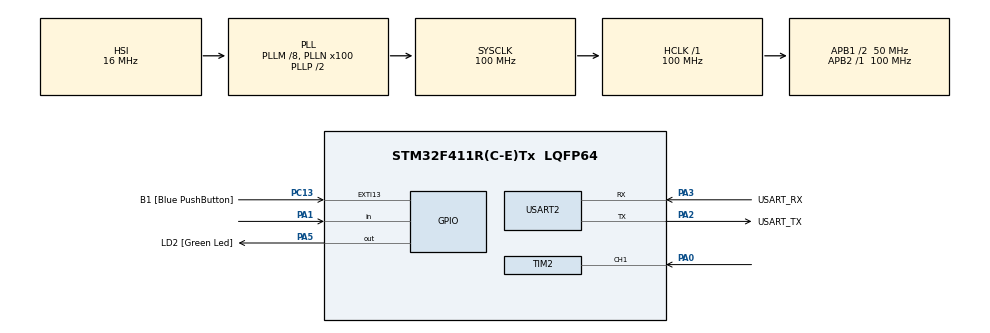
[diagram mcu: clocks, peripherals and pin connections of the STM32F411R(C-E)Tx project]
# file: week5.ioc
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Dma.Request0=TIM2_CH1
Dma.TIM2_CH1.0.Direction=DMA_PERIPH_TO_MEMORY
Dma.TIM2_CH1.0.FIFOMode=DMA_FIFOMODE_DISABLE
Dma.TIM2_CH1.0.Instance=DMA1_Stream5
Dma.TIM2_CH1.0.MemDataAlignment=DMA_MDATAALIGN_WORD
Dma.TIM2_CH1.0.MemInc=DMA_MINC_ENABLE
Dma.TIM2_CH1.0.Mode=DMA_CIRCULAR
Dma.TIM2_CH1.0.PeriphDataAlignment=DMA_PDATAALIGN_WORD
Dma.TIM2_CH1.0.PeriphInc=DMA_PINC_DISABLE
Dma.TIM2_CH1.0.Priority=DMA_PRIORITY_LOW
Mcu.Family=STM32F4
Mcu.Name=STM32F411R(C-E)Tx
Mcu.Package=LQFP64
NVIC.DMA1_Stream5_IRQn=true\:0\:0\:false\:false\:true\:false\:true
NVIC.PriorityGroup=NVIC_PRIORITYGROUP_0
NVIC.TIM1_TRG_COM_TIM11_IRQn=true\:0\:1\:true\:false\:true\:true\:true
PA0-WKUP.Signal=S_TIM2_CH1_ETR
PA1.Signal=GPIO_Input
PA13.GPIO_Label=TMS
PA13.Mode=Serial_Wire
PA13.Signal=SYS_JTMS-SWDIO
PA14.GPIO_Label=TCK
PA14.Mode=Serial_Wire
PA14.Signal=SYS_JTCK-SWCLK
PA2.GPIO_Label=USART_TX
PA2.Mode=Asynchronous
PA2.Signal=USART2_TX
PA3.GPIO_Label=USART_RX
PA3.Mode=Asynchronous
PA3.Signal=USART2_RX
PA5.GPIO_Label=LD2 [Green Led]
PA5.Signal=GPIO_Output
PB3.GPIO_Label=SWO
PB3.Signal=SYS_JTDO-SWO
PC13-ANTI_TAMP.GPIO_Label=B1 [Blue PushButton]
PC13-ANTI_TAMP.GPIO_ModeDefaultEXTI=GPIO_MODE_IT_FALLING
PC13-ANTI_TAMP.Signal=GPXTI13
PC14-OSC32_IN.Mode=LSE-External-Oscillator
PC14-OSC32_IN.Signal=RCC_OSC32_IN
PC15-OSC32_OUT.Mode=LSE-External-Oscillator
PC15-OSC32_OUT.Signal=RCC_OSC32_OUT
PH0\ -\ OSC_IN.Mode=HSE-External-Clock-Source
PH0\ -\ OSC_IN.Signal=RCC_OSC_IN
PH1\ -\ OSC_OUT.Mode=HSE-External-Clock-Source
PH1\ -\ OSC_OUT.Signal=RCC_OSC_OUT
ProjectManager.HeapSize=0x200
ProjectManager.StackSize=0x400
ProjectManager.TargetToolchain=STM32CubeIDE
RCC.48MHZClocksFreq_Value=50000000
RCC.AHBFreq_Value=100000000
RCC.APB1CLKDivider=RCC_HCLK_DIV2
RCC.APB1Freq_Value=50000000
RCC.APB1TimFreq_Value=100000000
RCC.APB2Freq_Value=100000000
RCC.APB2TimFreq_Value=100000000
RCC.CortexFreq_Value=100000000
RCC.FLatency-AdvancedSettings=FLASH_LATENCY_3
RCC.HCLKFreq_Value=100000000
RCC.HSE_VALUE=8000000
RCC.HSI_VALUE=16000000
RCC.PLLM=8
RCC.PLLN=100
RCC.RCC_RTC_Clock_Source=RCC_RTCCLKSOURCE_LSI
RCC.RCC_RTC_Clock_SourceVirtual=RCC_RTCCLKSOURCE_LSI
RCC.SYSCLKFreq_VALUE=100000000
RCC.SYSCLKSource=RCC_SYSCLKSOURCE_PLLCLK
RCC.VCOOutputFreq_Value=200000000
SH.S_TIM2_CH1_ETR.0=TIM2_CH1,Input_Capture1_from_TI1
TIM11.AutoReloadPreload=TIM_AUTORELOAD_PRELOAD_ENABLE
TIM11.Period=65535
TIM11.Prescaler=99
TIM2.Channel-Input_Capture1_from_TI1=TIM_CHANNEL_1
TIM2.Prescaler=99
USART2.VirtualMode=VM_ASYNC
VP_TIM10_VS_ClockSourceINT.Mode=Enable_Timer
VP_TIM11_VS_ClockSourceINT.Mode=Enable_Timer
VP_TIM2_VS_ClockSourceINT.Mode=Internal
board=NUCLEO-F411RE

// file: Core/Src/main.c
/* USER CODE BEGIN Header */
/**
 ******************************************************************************
 * @file           : main.c
 * @brief          : Main program body
 ******************************************************************************
 * @attention
 *
 * <h2><center>&copy; Copyright (c) 2021 STMicroelectronics.
 * All rights reserved.</center></h2>
 *
 * This software component is licensed by ST under BSD 3-Clause license,
 * the "License"; You may not use this file except in compliance with the
 * License. You may obtain a copy of the License at:
 *                        opensource.org/licenses/BSD-3-Clause
 *
 ******************************************************************************
 */
/* USER CODE END Header */
#include "main.h"

/* USER CODE BEGIN PD */
#define CAPTURENUM 16 // sample data array size

/* USER CODE END PD */

TIM_HandleTypeDef htim2;
TIM_HandleTypeDef htim10;
TIM_HandleTypeDef htim11;
DMA_HandleTypeDef hdma_tim2_ch1;

UART_HandleTypeDef huart2;

/* USER CODE BEGIN PV */

//12 P/R , Gear reduction 1 : 64
//DMA Buffer
uint32_t capturedata[CAPTURENUM] = { 0 };
//diff time of capture data
int64_t DiffTime[CAPTURENUM-1] = { 0 };
//Mean difftime
float MeanTime =0;

uint16_t RoundNum = 0; // num of fan pulse in 1 min

float RoundNum2nd = 0;
uint8_t fedge[2] = {0}; // RiseFall edge detection
uint16_t pulseCnt = 0;
uint32_t timestampx = 0;
//for microsecond measurement
uint64_t _micros =0;
/* USER CODE END PV */

void SystemClock_Config(void);
static void MX_GPIO_Init(void);
static void MX_USART2_UART_Init(void);
static void MX_TIM11_Init(void);
static void MX_TIM10_Init(void);
static void MX_DMA_Init(void);
static void MX_TIM2_Init(void);
/* USER CODE BEGIN PFP */
//Read speed of encoder
void encoderSpeedReaderCycle();
void SpeedMainShaft();
uint64_t micros();
/* USER CODE END PFP */

int main(void)
{

  /* MCU Configuration--------------------------------------------------------*/

  /* Reset of all peripherals, Initializes the Flash interface and the Systick. */
  HAL_Init();

  /* Configure the system clock */
  SystemClock_Config();

  /* Initialize all configured peripherals */
  MX_GPIO_Init();
  MX_USART2_UART_Init();
  MX_TIM11_Init();
  MX_TIM10_Init();
  MX_DMA_Init();
  MX_TIM2_Init();
  /* USER CODE BEGIN 2 */
  	  //start Microsec timer
	HAL_TIM_Base_Start_IT(&htim11);
	//start Input capture in DMA
	HAL_TIM_Base_Start(&htim2);
	HAL_TIM_IC_Start_DMA(&htim2, TIM_CHANNEL_1, (uint32_t*) &capturedata,
			CAPTURENUM);

	uint64_t timestamp =0;

  /* USER CODE END 2 */

  /* Infinite loop */
  /* USER CODE BEGIN WHILE */
	while (1) {
		//read Time of encoder
		encoderSpeedReaderCycle();
		SpeedMainShaft();

		if(micros()-timestamp > 100000) // 5Hz blink 10 toggle 100msec
		{
			timestamp = micros();
			HAL_GPIO_TogglePin(LD2_GPIO_Port,LD2_Pin);

		}

		// foolish edge detect Counter
		fedge[0] = HAL_GPIO_ReadPin(GPIOA, GPIO_PIN_1);
		if (fedge[0] - fedge[1] == 1)//rising edge
		{
			pulseCnt++;

		}
		fedge[1] = fedge[0]; // shift

    /* USER CODE END WHILE */

	}
}

void SystemClock_Config(void)
{
  RCC_OscInitTypeDef RCC_OscInitStruct = {0};
  RCC_ClkInitTypeDef RCC_ClkInitStruct = {0};

  /** Configure the main internal regulator output voltage
  */
  __HAL_RCC_PWR_CLK_ENABLE();
  __HAL_PWR_VOLTAGESCALING_CONFIG(PWR_REGULATOR_VOLTAGE_SCALE1);
  /** Initializes the RCC Oscillators according to the specified parameters
  * in the RCC_OscInitTypeDef structure.
  */
  RCC_OscInitStruct.OscillatorType = RCC_OSCILLATORTYPE_HSI;
  RCC_OscInitStruct.HSIState = RCC_HSI_ON;
  RCC_OscInitStruct.HSICalibrationValue = RCC_HSICALIBRATION_DEFAULT;
  RCC_OscInitStruct.PLL.PLLState = RCC_PLL_ON;
  RCC_OscInitStruct.PLL.PLLSource = RCC_PLLSOURCE_HSI;
  RCC_OscInitStruct.PLL.PLLM = 8;
  RCC_OscInitStruct.PLL.PLLN = 100;
  RCC_OscInitStruct.PLL.PLLP = RCC_PLLP_DIV2;
  RCC_OscInitStruct.PLL.PLLQ = 4;
  if (HAL_RCC_OscConfig(&RCC_OscInitStruct) != HAL_OK)
  {
    Error_Handler();
  }
  /** Initializes the CPU, AHB and APB buses clocks
  */
  RCC_ClkInitStruct.ClockType = RCC_CLOCKTYPE_HCLK|RCC_CLOCKTYPE_SYSCLK
                              |RCC_CLOCKTYPE_PCLK1|RCC_CLOCKTYPE_PCLK2;
  RCC_ClkInitStruct.SYSCLKSource = RCC_SYSCLKSOURCE_PLLCLK;
  RCC_ClkInitStruct.AHBCLKDivider = RCC_SYSCLK_DIV1;
  RCC_ClkInitStruct.APB1CLKDivider = RCC_HCLK_DIV2;
  RCC_ClkInitStruct.APB2CLKDivider = RCC_HCLK_DIV1;

  if (HAL_RCC_ClockConfig(&RCC_ClkInitStruct, FLASH_LATENCY_3) != HAL_OK)
  {
    Error_Handler();
  }
}

static void MX_TIM2_Init(void)
{

  TIM_ClockConfigTypeDef sClockSourceConfig = {0};
  TIM_MasterConfigTypeDef sMasterConfig = {0};
  TIM_IC_InitTypeDef sConfigIC = {0};

  htim2.Instance = TIM2;
  htim2.Init.Prescaler = 99;
  htim2.Init.CounterMode = TIM_COUNTERMODE_UP;
  htim2.Init.Period = 4294967295;
  htim2.Init.ClockDivision = TIM_CLOCKDIVISION_DIV1;
  htim2.Init.AutoReloadPreload = TIM_AUTORELOAD_PRELOAD_DISABLE;
  if (HAL_TIM_Base_Init(&htim2) != HAL_OK)
  {
    Error_Handler();
  }
  sClockSourceConfig.ClockSource = TIM_CLOCKSOURCE_INTERNAL;
  if (HAL_TIM_ConfigClockSource(&htim2, &sClockSourceConfig) != HAL_OK)
  {
    Error_Handler();
  }
  if (HAL_TIM_IC_Init(&htim2) != HAL_OK)
  {
    Error_Handler();
  }
  sMasterConfig.MasterOutputTrigger = TIM_TRGO_RESET;
  sMasterConfig.MasterSlaveMode = TIM_MASTERSLAVEMODE_DISABLE;
  if (HAL_TIMEx_MasterConfigSynchronization(&htim2, &sMasterConfig) != HAL_OK)
  {
    Error_Handler();
  }
  sConfigIC.ICPolarity = TIM_INPUTCHANNELPOLARITY_RISING;
  sConfigIC.ICSelection = TIM_ICSELECTION_DIRECTTI;
  sConfigIC.ICPrescaler = TIM_ICPSC_DIV1;
  sConfigIC.ICFilter = 0;
  if (HAL_TIM_IC_ConfigChannel(&htim2, &sConfigIC, TIM_CHANNEL_1) != HAL_OK)
  {
    Error_Handler();
  }

}

static void MX_TIM10_Init(void)
{

  htim10.Instance = TIM10;
  htim10.Init.Prescaler = 0;
  htim10.Init.CounterMode = TIM_COUNTERMODE_UP;
  htim10.Init.Period = 65535;
  htim10.Init.ClockDivision = TIM_CLOCKDIVISION_DIV1;
  htim10.Init.AutoReloadPreload = TIM_AUTORELOAD_PRELOAD_DISABLE;
  if (HAL_TIM_Base_Init(&htim10) != HAL_OK)
  {
    Error_Handler();
  }

}

static void MX_TIM11_Init(void)
{

  htim11.Instance = TIM11;
  htim11.Init.Prescaler = 99;
  htim11.Init.CounterMode = TIM_COUNTERMODE_UP;
  htim11.Init.Period = 65535;
  htim11.Init.ClockDivision = TIM_CLOCKDIVISION_DIV1;
  htim11.Init.AutoReloadPreload = TIM_AUTORELOAD_PRELOAD_ENABLE;
  if (HAL_TIM_Base_Init(&htim11) != HAL_OK)
  {
    Error_Handler();
  }

}

static void MX_USART2_UART_Init(void)
{

  huart2.Instance = USART2;
  huart2.Init.BaudRate = 115200;
  huart2.Init.WordLength = UART_WORDLENGTH_8B;
  huart2.Init.StopBits = UART_STOPBITS_1;
  huart2.Init.Parity = UART_PARITY_NONE;
  huart2.Init.Mode = UART_MODE_TX_RX;
  huart2.Init.HwFlowCtl = UART_HWCONTROL_NONE;
  huart2.Init.OverSampling = UART_OVERSAMPLING_16;
  if (HAL_UART_Init(&huart2) != HAL_OK)
  {
    Error_Handler();
  }

}

static void MX_DMA_Init(void)
{

  /* DMA controller clock enable */
  __HAL_RCC_DMA1_CLK_ENABLE();

  /* DMA interrupt init */
  /* DMA1_Stream5_IRQn interrupt configuration */
  HAL_NVIC_SetPriority(DMA1_Stream5_IRQn, 0, 0);
  HAL_NVIC_EnableIRQ(DMA1_Stream5_IRQn);

}

static void MX_GPIO_Init(void)
{
  GPIO_InitTypeDef GPIO_InitStruct = {0};

  /* GPIO Ports Clock Enable */
  __HAL_RCC_GPIOC_CLK_ENABLE();
  __HAL_RCC_GPIOH_CLK_ENABLE();
  __HAL_RCC_GPIOA_CLK_ENABLE();
  __HAL_RCC_GPIOB_CLK_ENABLE();

  /*Configure GPIO pin Output Level */
  HAL_GPIO_WritePin(LD2_GPIO_Port, LD2_Pin, GPIO_PIN_RESET);

  /*Configure GPIO pin : B1_Pin */
  GPIO_InitStruct.Pin = B1_Pin;
  GPIO_InitStruct.Mode = GPIO_MODE_IT_FALLING;
  GPIO_InitStruct.Pull = GPIO_NOPULL;
  HAL_GPIO_Init(B1_GPIO_Port, &GPIO_InitStruct);

  /*Configure GPIO pin : PA1 */
  GPIO_InitStruct.Pin = GPIO_PIN_1;
  GPIO_InitStruct.Mode = GPIO_MODE_INPUT;
  GPIO_InitStruct.Pull = GPIO_NOPULL;
  HAL_GPIO_Init(GPIOA, &GPIO_InitStruct);

  /*Configure GPIO pin : LD2_Pin */
  GPIO_InitStruct.Pin = LD2_Pin;
  GPIO_InitStruct.Mode = GPIO_MODE_OUTPUT_PP;
  GPIO_InitStruct.Pull = GPIO_NOPULL;
  GPIO_InitStruct.Speed = GPIO_SPEED_FREQ_LOW;
  HAL_GPIO_Init(LD2_GPIO_Port, &GPIO_InitStruct);

}

/* USER CODE BEGIN 4 */
void encoderSpeedReaderCycle() {
	//get DMA Position form number of data
	uint32_t CapPos =CAPTURENUM -  __HAL_DMA_GET_COUNTER(htim2.hdma[TIM_DMA_ID_CC1]);
	uint32_t sum = 0 ;

	//calculate diff from all buffer except current dma
	for(register int i=2 ;i < CAPTURENUM-1;i++)
	{
		DiffTime[i]  = capturedata[(CapPos+1+i)%CAPTURENUM]-capturedata[(CapPos+i)%CAPTURENUM];
		//Sum all  Diff
		sum += DiffTime[i];
	}

	//mean all Diff
	MeanTime =sum / (float)(CAPTURENUM-3);
}

void SpeedMainShaft(){
	// 1 mini round = 12 P/R
	// 64 mini round = 1 main round = 728 P/R = 1 RPM

	//MeanTime = 1 cycle time
	// PulseNum per min = 60M / MeanTime
	// Pulsenum / 64*12 = 1 MainRound
	//MeanTime * PulseNum = 1 minute = 6M usec
	RoundNum = (60000000 / MeanTime)/728;

	if(micros() - timestampx >= 10000) // 1msec
			{
				timestampx = micros();
				RoundNum2nd = pulseCnt * (728/60);
				pulseCnt = 0;
			}

}

/*void HAL_GPIO_EXTI_Callback(uint16_t GPIO_Pin)
{
	if(GPIO_Pin == GPIO_PIN_13) // falling, choose rising-falling at GUI
	{

	}
}
*/

uint64_t micros()
{
	return _micros + htim11.Instance->CNT;
}
void HAL_TIM_PeriodElapsedCallback(TIM_HandleTypeDef *htim)
{
 if(htim == &htim11)
 {
	 _micros += 65535;
 }
}
/* USER CODE END 4 */

void Error_Handler(void)
{
	__disable_irq();
	while (1) {
	}
}
